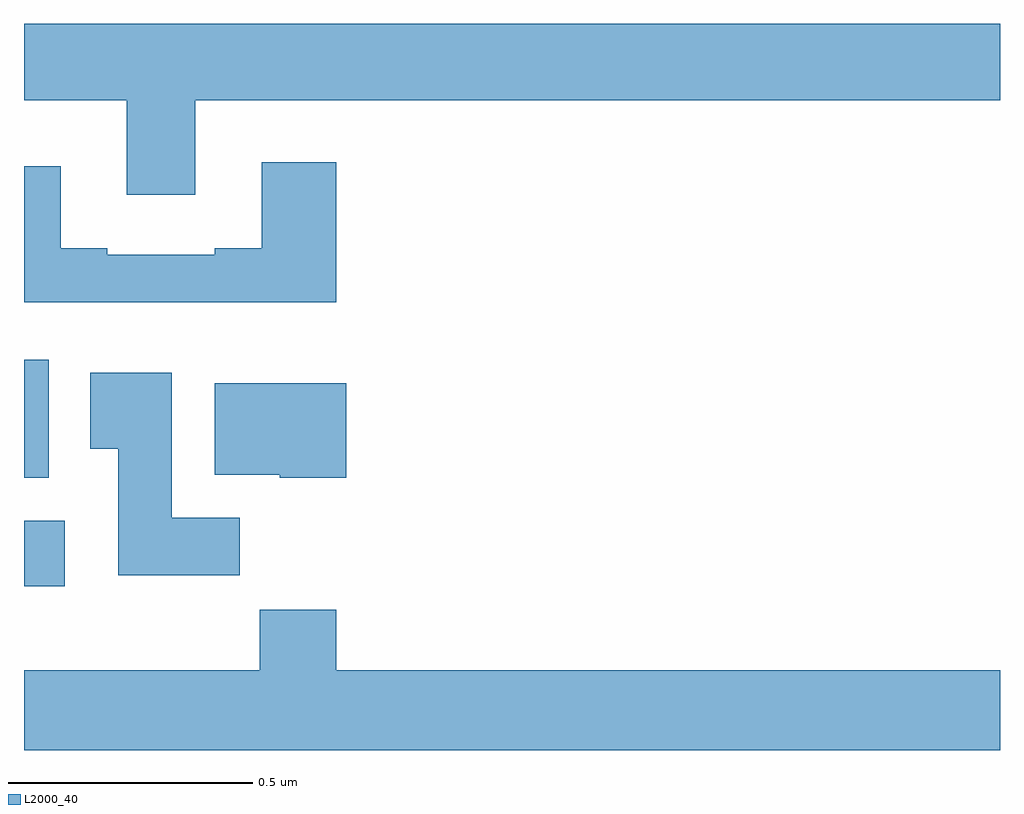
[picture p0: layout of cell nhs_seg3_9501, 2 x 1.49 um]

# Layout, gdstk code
import gdstk
lib = gdstk.Library(unit=1e-6, precision=1e-09)
def R(c, l, rs):  # rectangles x0, y0, x1, y1
    for r in rs: c.add(gdstk.rectangle(r[:2], r[2:], *l))
def P(c, l, *ps):  # polygons
    for p in ps: c.add(gdstk.Polygon(p, *l))
L2000_40 = (2000, 40)

nhs_seg3_9501 = lib.new_cell('nhs_seg3_9501')
R(nhs_seg3_9501, L2000_40, [(229,705.248,229.084,705.382), (229,705.47,229.051,705.712)])
P(nhs_seg3_9501, L2000_40, [(229.351,706.244),(231,706.244),(231,706.4),(229,706.4),(229,706.244),(229.211,706.244),(229.211,706.05),(229.351,706.05)],
  [(229.64,706.117),(229.487,706.117),(229.487,705.94),(229.391,705.94),(229.391,705.927),(229.171,705.927),(229.171,705.94),(229.075,705.94),(229.075,706.108),(229,706.108),(229,705.83),(229.64,705.83)],
  [(229.442,705.388),(229.303,705.388),(229.303,705.685),(229.136,705.685),(229.136,705.529),(229.193,705.529),(229.193,705.27),(229.442,705.27)],
  [(229.66,705.664),(229.391,705.664),(229.391,705.476),(229.524,705.476),(229.524,705.47),(229.66,705.47)],
  [(231,705.076),(229.64,705.076),(229.64,705.2),(229.483,705.2),(229.483,705.076),(229,705.076),(229,704.912),(231,704.912)])

lib.write_gds('nhs_seg3_9501.gds')
